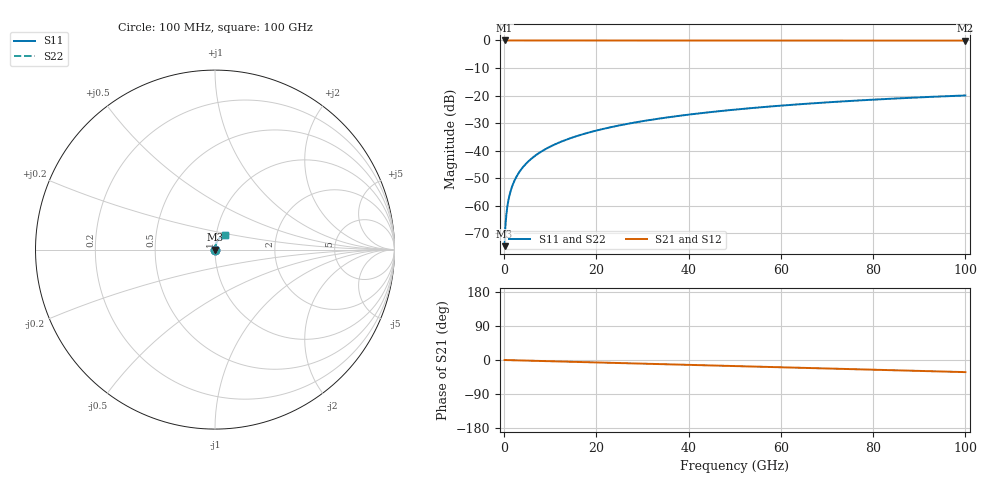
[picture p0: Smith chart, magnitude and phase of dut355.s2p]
! Touchstone file exported from HFSS 2026.1.0
!  File:  C:/ffzhzh/LocalFiles/Ansys_Project_Files/temp_train_TSV_355_1783510088_55944.aedt
!  Generated:  07:29:22 PM Jul  8, 2026
!  Design:  TSV
!  Project:  temp_train_TSV_355_1783510088_55944
! Variables:
!  h_bsmrdl = 2um
!  h_ox = 20um
!  h_rdl = 5um
!  h_sub = 58.39um
!  h_tmrdl = 5um
!  h_tsv = 58.39um
!  h_via = 3um
!  l_bsmrdl = 300um
!  l_sub = 418.8um
!  l_tmrdl = 200um
!  m_sub = 200um
!  pitch = 47.83um
!  r_tsv = 9.4um
!  s_tmrdl = 10um
!  w_bsmrdl = 18um
!  w_sub = 500um
!  w_tmrdl = 12um
!  x_tsv_center1 = 206um
!  x_tsv_center2 = 524um
!  x_tsv_center3 = 736um
!  x_tsv_center4 = 1054um
!  x_tsv_center5 = 1266um
!  x_tsv_center6 = 1584um
# GHz S MA R 50.000000
! Terminal data exported
! Port[1] = TSV1_1_T1
! Port[2] = TSV1_1_T2
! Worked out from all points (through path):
!   1000 points, 100 MHz to 100 GHz, reference 50 ohm
!   highest |S21| = 0.00 dB at 100 MHz (marker M1); lowest = -0.1 dB at 100 GHz (marker M2)
!   group delay of S21, straight-line fit = 888 fs
!   lowest |S11| = -74.7 dB at 100 MHz (marker M3), VSWR 1.00, Z = 50 + j0.0149 ohm
!   |S11| at or under -10 dB: start of sweep to end of sweep
!   |S22| runs from -74.7 to -20.0 dB; largest |S21 - S12| = 2.1e-15
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0.1  0.0001846 53.6  0.9999 -0.0  0.9999 -0.0  0.0001846 53.6
! Gamma 0 0 0 0
! Port Impedance 50 0 50 0
0.4  0.0005897 75.2  0.9999 -0.1  0.9999 -0.1  0.0005897 75.2
0.7  0.0009764 78.4  0.9998 -0.2  0.9998 -0.2  0.0009764 78.4
0.8  0.001102 79.0  0.9998 -0.3  0.9998 -0.3  0.001102 79.0
1  0.00135 80.0  0.9998 -0.3  0.9998 -0.3  0.00135 80.0
1.3  0.001718 81.0  0.9997 -0.4  0.9997 -0.4  0.001718 81.0
1.8  0.002327 82.0  0.9997 -0.6  0.9997 -0.6  0.002327 82.0
2.3  0.002928 82.6  0.9997 -0.8  0.9997 -0.8  0.002928 82.6
3  0.003759 83.0  0.9996 -1.0  0.9996 -1.0  0.003759 83.0
3.8  0.004698 83.3  0.9995 -1.2  0.9995 -1.2  0.004698 83.4
4.8  0.005863 83.6  0.9995 -1.6  0.9995 -1.6  0.005863 83.6
6  0.007254 83.7  0.9994 -1.9  0.9994 -1.9  0.007254 83.7
8.8  0.01048 83.5  0.9993 -2.8  0.9993 -2.8  0.01048 83.5
12.4  0.01459 82.8  0.9991 -4.0  0.9991 -4.0  0.01459 82.8
16.8  0.01957 81.8  0.9989 -5.4  0.9989 -5.4  0.01957 81.8
24.2  0.02785 79.9  0.9985 -7.8  0.9985 -7.8  0.02785 79.9
33.4  0.03796 77.3  0.9979 -10.7  0.9979 -10.7  0.03796 77.3
41.2  0.04634 75.0  0.9974 -13.2  0.9974 -13.2  0.04634 75.0
50.1  0.05564 72.3  0.9968 -16.1  0.9968 -16.1  0.05564 72.3
66.7  0.07209 67.2  0.9955 -21.4  0.9955 -21.4  0.07209 67.2
83.4  0.08719 62.0  0.9941 -26.7  0.9941 -26.7  0.08719 62.1
100  0.1004 56.8  0.9926 -32.0  0.9926 -32.0  0.1004 56.9
